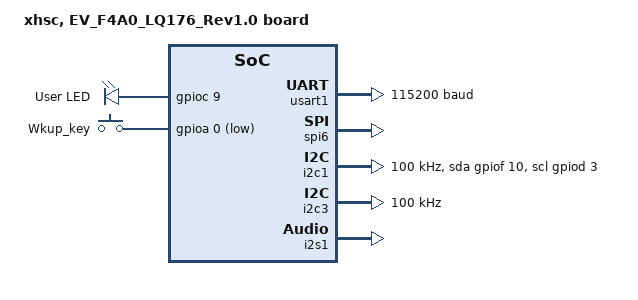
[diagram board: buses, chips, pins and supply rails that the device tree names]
/*
 * Copyright (C) 2022-2024, Xiaohua Semiconductor Co., Ltd.
 * SPDX-License-Identifier: Apache-2.0
 */

/dts-v1/;
#include <xhsc/f4/hc32f4a0.dtsi>
#include "hc32f4a0_evb-pinctrl.dtsi"

/ {
	model = "xhsc, EV_F4A0_LQ176_Rev1.0 board";
	compatible = "xhsc,hc32f4a0_evb";

	chosen {
		zephyr,sram = &sram0;
		zephyr,flash = &flash0;
		zephyr,console = &usart1;
		zephyr,shell-uart = &usart1;
	};

	leds {
		compatible = "gpio-leds";
		blue_led: led_0 {
			gpios = <&gpioc 9 GPIO_ACTIVE_HIGH>;
			label = "User LED";
		};
	};

	gpio_keys {
		compatible = "gpio-keys";
		user_button: button {
			label = "Wkup_key";
			gpios = <&gpioa 0 GPIO_ACTIVE_LOW>;
		};
	};

	aliases {
		led0 = &blue_led;
		sw0 = &user_button;
	};
};
&gpioa {
	status = "okay";
};

&gpiob {
	status = "okay";
};

&gpioc {
	status = "okay";
};

&gpiod {
	status = "okay";
};

&gpioe {
	status = "okay";
};

&gpiof {
	status = "okay";
};

&gpiog {
	status = "okay";
};

&gpioh {
	status = "okay";
};

&gpioi {
	status = "okay";
};

&clk_xtal {
	status = "okay";
};

&clk_xtal32 {
	status = "okay";
};

&clk_hrc {
	status = "okay";
};

&clk_mrc {
	status = "okay";
};

&clk_lrc {
	status = "okay";
};

&clk_pll {
	status = "okay";
};

&usart1 {
	status = "okay";
	current-speed = <115200>;
	pinctrl-0 = <&usart1_default>;
	pinctrl-names = "default";
};

&spi6 {
	status = "okay";
	pinctrl-0 = <&spi6_default>;
	pinctrl-names = "default";
	cs-gpios = <&gpioe 6 GPIO_ACTIVE_LOW>;
};

&i2c1 {
	status = "okay";
	pinctrl-0 = <&i2c1_default>;
	pinctrl-names = "default";
	dmas = <&dma1 0 INT_SRC_I2C1_TEI (HC32_DMA_MEMORY_TO_PERIPH | HC32_DMA_SOURCE_ADDR_INC | HC32_DMA_DEST_ADDR_FIX | HC32_DMA_DATA_WIDTH_8BIT)>,
			<&dma1 1 INT_SRC_I2C1_RXI (HC32_DMA_PERIPH_TO_MEMORY | HC32_DMA_SOURCE_ADDR_FIX | HC32_DMA_DEST_ADDR_INC | HC32_DMA_DATA_WIDTH_8BIT)>;
	dma-names = "tx_dma","rx_dma";
	scl-gpios = <&gpiod 3 GPIO_OPEN_DRAIN>;
	sda-gpios = <&gpiof 10 GPIO_OPEN_DRAIN>;
	clock-frequency = < 100000 >;
	/* delete dma property once use interrupt transfer.
	** dma-names must be named "tx_dma","rx_dma" while used dma transfer for i2c.
	** example :
	** dma-names = "tx_dma","rx_dma";
	*/
	/delete-property/ dmas;
	/delete-property/ dma-names;
};

&i2c3 {
	status = "okay";
	clock-frequency = < 100000 >;
	pinctrl-0 = <&i2c3_default>;
	pinctrl-names = "default";
};

&i2c4 {
	pinctrl-0 = <&i2c4_default>;
	pinctrl-names = "default";
};

&timera9 {

	qdec {
		pinctrl-0 = <&tmra9_qdec_default>;
		pinctrl-names = "default";
		hw-count-conditions = <(TMR_UP_COND_A_H_B_R | TMR_UP_COND_B_H_A_F | 
								TMR_DOWN_COND_A_H_B_F | TMR_DOWN_COND_B_H_A_R)>;
		counts-per-revolution = <2000>;
	};
};

&i2s1 {
	status = "okay";
	pinctrl-0 = <&i2s1_default>;
	pinctrl-names = "default";

	dmas = <&dma1 0 INT_SRC_I2S1_TXIRQOUT (HC32_DMA_MEMORY_TO_PERIPH | HC32_DMA_SOURCE_ADDR_INC | HC32_DMA_DEST_ADDR_FIX | HC32_DMA_DATA_WIDTH_16BIT)>,
			<&dma1 1 INT_SRC_I2S1_RXIRQOUT (HC32_DMA_PERIPH_TO_MEMORY | HC32_DMA_SOURCE_ADDR_FIX | HC32_DMA_DEST_ADDR_INC | HC32_DMA_DATA_WIDTH_16BIT)>;
	dma-names = "tx_dma","rx_dma";

	src-clk = <0>; /* PLL */
	i2s-pll-clk = <0>; /* PCLK1 */
};

&flash0 {
	partitions {
		#address-cells = <1>;
		#size-cells = <1>;
		compatible = "fixed-partitions";

		/* Set 4Kb for storage using in the 2048KB flash 0 */
		storage_partition: partition@20000 {
			label = "storage";
			reg = <0x00020000 DT_SIZE_K(4)>;
		};
	};
};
